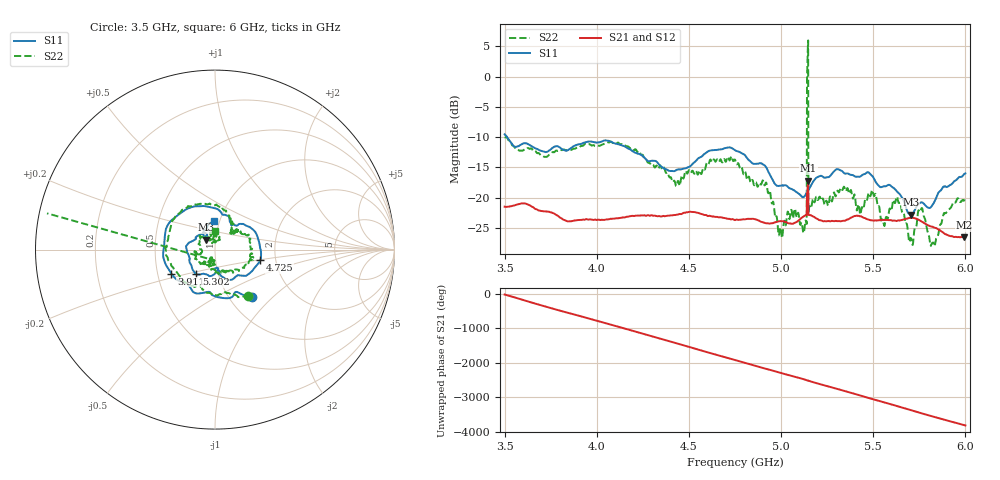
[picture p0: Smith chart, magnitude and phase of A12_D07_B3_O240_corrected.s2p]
! Created with skrf 1.9.0 (http://scikit-rf.org).
# Hz S RI R 50.0
!freq ReS11 ImS11 ReS21 ImS21 ReS12 ImS12 ReS22 ImS22
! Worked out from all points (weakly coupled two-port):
!   1601 points, 3.5 GHz to 6 GHz, reference 50 ohm
!   highest |S21| = -17.20 dB at 5.147 GHz (marker M1); lowest = -26.6 dB at 5.994 GHz (marker M2)
!   lowest |S11| = -22.8 dB at 5.703 GHz (marker M3), VSWR 1.16, Z = 45.2 + j4.95 ohm
!   |S11| at or under -10 dB: 3.514 GHz to end of sweep
!   |S22| runs from -28.0 to 6.0 dB; largest |S21 - S12| = 0.0014
!   S11 on the Smith chart (normalised r, x): 3.5 GHz: 1.27, -0.75; 3.911 GHz: 0.59, -0.17; 4.725 GHz: 1.66, -0.20; 5.302 GHz: 0.78, -0.22; 6 GHz: 0.94, +0.30
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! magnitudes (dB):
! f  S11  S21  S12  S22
! 3.5 GHz  -9.5  -21.5  -21.5  -10.0
! 3.911 GHz  -11.1  -23.7  -23.7  -11.5
! 3.917 GHz  -11.1  -23.7  -23.7  -11.5
! 4.334 GHz  -14.4  -23.1  -23.0  -15.2
! 4.439 GHz  -15.3  -22.8  -22.8  -17.3
! 4.725 GHz  -11.7  -23.6  -23.5  -13.6
! 4.75 GHz  -12.1  -23.7  -23.6  -13.7
! 4.911 GHz  -14.7  -24.2  -24.1  -18.0
! 4.997 GHz  -18.0  -23.9  -23.9  -25.0
! 5.064 GHz  -18.7  -24.3  -24.3  -23.4
! 5.127 GHz  -19.8  -23.0  -23.0  -25.2
! 5.134 GHz  -19.4  -22.9  -22.9  -23.8
! 5.147 GHz  -18.8  -17.2  -17.2  6.0
! 5.167 GHz  -17.7  -23.0  -23.0  -21.0
! 5.302 GHz  -15.3  -23.9  -23.8  -19.2
! 5.584 GHz  -17.9  -23.7  -23.7  -22.5
! 5.636 GHz  -19.2  -23.8  -23.7  -20.7
! 5.703 GHz  -22.8  -23.4  -23.4  -26.7
! 5.755 GHz  -20.9  -23.8  -23.8  -22.3
! 5.823 GHz  -21.1  -24.8  -24.8  -27.5
! 5.994 GHz  -16.1  -26.6  -26.5  -20.4
! 6 GHz  -16.0  -26.6  -26.5  -19.9
